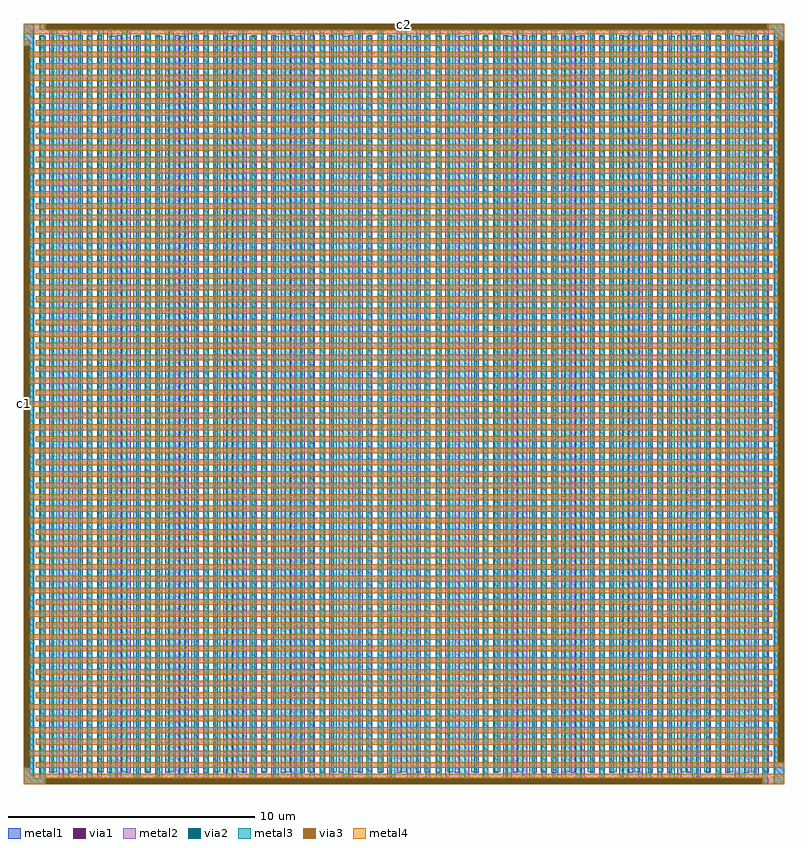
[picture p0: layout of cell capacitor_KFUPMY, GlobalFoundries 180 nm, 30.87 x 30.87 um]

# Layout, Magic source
magic
tech gf180mcuD
magscale 3 26
<< metal1 >>
rect 0 5197 65 5350
rect 109 5349 5350 5350
rect 109 5309 147 5349
rect 5243 5309 5350 5349
rect 109 5308 5350 5309
rect 0 113 1 5197
rect 41 113 65 5197
rect 0 42 65 113
rect 109 42 141 5272
rect 177 78 209 5308
rect 245 42 277 5272
rect 313 78 345 5308
rect 381 42 413 5272
rect 449 78 481 5308
rect 517 42 549 5272
rect 585 78 617 5308
rect 653 42 685 5272
rect 721 78 753 5308
rect 789 42 821 5272
rect 857 78 889 5308
rect 925 42 957 5272
rect 993 78 1025 5308
rect 1061 42 1093 5272
rect 1129 78 1161 5308
rect 1197 42 1229 5272
rect 1265 78 1297 5308
rect 1333 42 1365 5272
rect 1401 78 1433 5308
rect 1469 42 1501 5272
rect 1537 78 1569 5308
rect 1605 42 1637 5272
rect 1673 78 1705 5308
rect 1741 42 1773 5272
rect 1809 78 1841 5308
rect 1877 42 1909 5272
rect 1945 78 1977 5308
rect 2013 42 2045 5272
rect 2081 78 2113 5308
rect 2149 42 2181 5272
rect 2217 78 2249 5308
rect 2285 42 2317 5272
rect 2353 78 2385 5308
rect 2421 42 2453 5272
rect 2489 78 2521 5308
rect 2557 42 2589 5272
rect 2625 78 2657 5308
rect 2693 42 2725 5272
rect 2761 78 2793 5308
rect 2829 42 2861 5272
rect 2897 78 2929 5308
rect 2965 42 2997 5272
rect 3033 78 3065 5308
rect 3101 42 3133 5272
rect 3169 78 3201 5308
rect 3237 42 3269 5272
rect 3305 78 3337 5308
rect 3373 42 3405 5272
rect 3441 78 3473 5308
rect 3509 42 3541 5272
rect 3577 78 3609 5308
rect 3645 42 3677 5272
rect 3713 78 3745 5308
rect 3781 42 3813 5272
rect 3849 78 3881 5308
rect 3917 42 3949 5272
rect 3985 78 4017 5308
rect 4053 42 4085 5272
rect 4121 78 4153 5308
rect 4189 42 4221 5272
rect 4257 78 4289 5308
rect 4325 42 4357 5272
rect 4393 78 4425 5308
rect 4461 42 4493 5272
rect 4529 78 4561 5308
rect 4597 42 4629 5272
rect 4665 78 4697 5308
rect 4733 42 4765 5272
rect 4801 78 4833 5308
rect 4869 42 4901 5272
rect 4937 78 4969 5308
rect 5005 42 5037 5272
rect 5073 78 5105 5308
rect 5141 42 5173 5272
rect 5209 78 5241 5308
rect 5285 5237 5350 5308
rect 5285 153 5309 5237
rect 5349 153 5350 5237
rect 0 41 5241 42
rect 0 1 147 41
rect 5203 1 5241 41
rect 0 0 5241 1
rect 5285 0 5350 153
<< via1 >>
rect 147 5309 5243 5349
rect 1 113 41 5197
rect 5309 153 5349 5237
rect 147 1 5203 41
<< metal2 >>
rect 0 5349 153 5350
rect 5237 5349 5350 5350
rect 0 5309 147 5349
rect 5243 5309 5350 5349
rect 0 5279 5350 5309
rect 5309 5237 5350 5279
rect 0 5197 41 5237
rect 84 5197 5309 5237
rect 41 5115 5266 5155
rect 84 5033 5309 5073
rect 41 4951 5266 4991
rect 84 4869 5309 4909
rect 41 4787 5266 4827
rect 84 4705 5309 4745
rect 41 4623 5266 4663
rect 84 4541 5309 4581
rect 41 4459 5266 4499
rect 84 4377 5309 4417
rect 41 4295 5266 4335
rect 84 4213 5309 4253
rect 41 4131 5266 4171
rect 84 4049 5309 4089
rect 41 3967 5266 4007
rect 84 3885 5309 3925
rect 41 3803 5266 3843
rect 84 3721 5309 3761
rect 41 3639 5266 3679
rect 84 3557 5309 3597
rect 41 3475 5266 3515
rect 84 3393 5309 3433
rect 41 3311 5266 3351
rect 84 3229 5309 3269
rect 41 3147 5266 3187
rect 84 3065 5309 3105
rect 41 2983 5266 3023
rect 84 2901 5309 2941
rect 41 2819 5266 2859
rect 84 2737 5309 2777
rect 41 2655 5266 2695
rect 84 2573 5309 2613
rect 41 2491 5266 2531
rect 84 2409 5309 2449
rect 41 2327 5266 2367
rect 84 2245 5309 2285
rect 41 2163 5266 2203
rect 84 2081 5309 2121
rect 41 1999 5266 2039
rect 84 1917 5309 1957
rect 41 1835 5266 1875
rect 84 1753 5309 1793
rect 41 1671 5266 1711
rect 84 1589 5309 1629
rect 41 1507 5266 1547
rect 84 1425 5309 1465
rect 41 1343 5266 1383
rect 84 1261 5309 1301
rect 41 1179 5266 1219
rect 84 1097 5309 1137
rect 41 1015 5266 1055
rect 84 933 5309 973
rect 41 851 5266 891
rect 84 769 5309 809
rect 41 687 5266 727
rect 84 605 5309 645
rect 41 523 5266 563
rect 84 441 5309 481
rect 41 359 5266 399
rect 84 277 5309 317
rect 41 195 5266 235
rect 84 113 5350 153
rect 0 71 41 113
rect 0 41 5350 71
rect 0 1 147 41
rect 5203 1 5350 41
rect 0 0 153 1
rect 5197 0 5350 1
<< via2 >>
rect 153 5349 5237 5350
rect 153 5310 5237 5349
rect 0 113 1 5197
rect 1 113 40 5197
rect 5310 153 5349 5237
rect 5349 153 5350 5237
rect 153 1 5197 40
rect 153 0 5197 1
<< metal3 >>
rect 0 5197 71 5350
rect 113 5310 153 5350
rect 5237 5310 5350 5350
rect 40 113 71 5197
rect 0 40 71 113
rect 113 40 153 5268
rect 195 82 235 5310
rect 277 40 317 5268
rect 359 82 399 5310
rect 441 40 481 5268
rect 523 82 563 5310
rect 605 40 645 5268
rect 687 82 727 5310
rect 769 40 809 5268
rect 851 82 891 5310
rect 933 40 973 5268
rect 1015 82 1055 5310
rect 1097 40 1137 5268
rect 1179 82 1219 5310
rect 1261 40 1301 5268
rect 1343 82 1383 5310
rect 1425 40 1465 5268
rect 1507 82 1547 5310
rect 1589 40 1629 5268
rect 1671 82 1711 5310
rect 1753 40 1793 5268
rect 1835 82 1875 5310
rect 1917 40 1957 5268
rect 1999 82 2039 5310
rect 2081 40 2121 5268
rect 2163 82 2203 5310
rect 2245 40 2285 5268
rect 2327 82 2367 5310
rect 2409 40 2449 5268
rect 2491 82 2531 5310
rect 2573 40 2613 5268
rect 2655 82 2695 5310
rect 2737 40 2777 5268
rect 2819 82 2859 5310
rect 2901 40 2941 5268
rect 2983 82 3023 5310
rect 3065 40 3105 5268
rect 3147 82 3187 5310
rect 3229 40 3269 5268
rect 3311 82 3351 5310
rect 3393 40 3433 5268
rect 3475 82 3515 5310
rect 3557 40 3597 5268
rect 3639 82 3679 5310
rect 3721 40 3761 5268
rect 3803 82 3843 5310
rect 3885 40 3925 5268
rect 3967 82 4007 5310
rect 4049 40 4089 5268
rect 4131 82 4171 5310
rect 4213 40 4253 5268
rect 4295 82 4335 5310
rect 4377 40 4417 5268
rect 4459 82 4499 5310
rect 4541 40 4581 5268
rect 4623 82 4663 5310
rect 4705 40 4745 5268
rect 4787 82 4827 5310
rect 4869 40 4909 5268
rect 4951 82 4991 5310
rect 5033 40 5073 5268
rect 5115 82 5155 5310
rect 0 0 153 40
rect 5197 0 5237 5268
rect 5279 5237 5350 5310
rect 5279 153 5310 5237
rect 5279 0 5350 153
<< via3 >>
rect 153 5310 5237 5350
rect 0 113 40 5197
rect 153 0 5197 40
rect 5310 153 5350 5237
<< metal4 >>
rect 0 5310 153 5350
rect 5237 5310 5350 5350
rect 0 5279 5350 5310
rect 5310 5237 5350 5279
rect 0 5197 40 5237
rect 82 5197 5310 5237
rect 40 5115 5268 5155
rect 82 5033 5310 5073
rect 40 4951 5268 4991
rect 82 4869 5310 4909
rect 40 4787 5268 4827
rect 82 4705 5310 4745
rect 40 4623 5268 4663
rect 82 4541 5310 4581
rect 40 4459 5268 4499
rect 82 4377 5310 4417
rect 40 4295 5268 4335
rect 82 4213 5310 4253
rect 40 4131 5268 4171
rect 82 4049 5310 4089
rect 40 3967 5268 4007
rect 82 3885 5310 3925
rect 40 3803 5268 3843
rect 82 3721 5310 3761
rect 40 3639 5268 3679
rect 82 3557 5310 3597
rect 40 3475 5268 3515
rect 82 3393 5310 3433
rect 40 3311 5268 3351
rect 82 3229 5310 3269
rect 40 3147 5268 3187
rect 82 3065 5310 3105
rect 40 2983 5268 3023
rect 82 2901 5310 2941
rect 40 2819 5268 2859
rect 82 2737 5310 2777
rect 40 2655 5268 2695
rect 82 2573 5310 2613
rect 40 2491 5268 2531
rect 82 2409 5310 2449
rect 40 2327 5268 2367
rect 82 2245 5310 2285
rect 40 2163 5268 2203
rect 82 2081 5310 2121
rect 40 1999 5268 2039
rect 82 1917 5310 1957
rect 40 1835 5268 1875
rect 82 1753 5310 1793
rect 40 1671 5268 1711
rect 82 1589 5310 1629
rect 40 1507 5268 1547
rect 82 1425 5310 1465
rect 40 1343 5268 1383
rect 82 1261 5310 1301
rect 40 1179 5268 1219
rect 82 1097 5310 1137
rect 40 1015 5268 1055
rect 82 933 5310 973
rect 40 851 5268 891
rect 82 769 5310 809
rect 40 687 5268 727
rect 82 605 5310 645
rect 40 523 5268 563
rect 82 441 5310 481
rect 40 359 5268 399
rect 82 277 5310 317
rect 40 195 5268 235
rect 82 113 5350 153
rect 0 71 40 113
rect 0 40 5350 71
rect 0 0 153 40
rect 5197 0 5350 40
<< labels >>
rlabel via3 2 2675 2 2675 0 c1
port 1 nsew
rlabel via3 2675 5348 2675 5348 0 c2
port 2 nsew
<< properties >>
string device csubckt cap_cmomf 0 0 1 1 w=26.75u l=26.75u mmin=1 mmax=4 subblock=0 mm_ok=1 c1 0 0 c2 0 0
string FIXED_BBOX 0 0 5350 5350
string gencell cap_cmomf
string library gf180mcu
string parameters w 26.749 l 26.749 value 1659.9999999999998 class capacitor mmin 1 mmax 4 square 1 subblock 0 lmin 2.00 wmin 2.00 lmax 100.0 wmax 100.0 m 1
<< end >>
